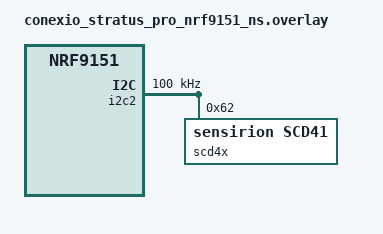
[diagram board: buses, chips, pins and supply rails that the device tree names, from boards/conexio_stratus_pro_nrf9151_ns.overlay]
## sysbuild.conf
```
#
# Copyright (c) 2025 Conexio Technologies, Inc
#
# SPDX-License-Identifier: Apache-2.0
#

SB_CONFIG_BOOTLOADER_MCUBOOT=y 
```

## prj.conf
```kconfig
#
# Copyright (c) 2025 Conexio Technologies, Inc
#
# SPDX-License-Identifier: Apache-2.0
#

CONFIG_CBPRINTF_FP_SUPPORT=y

# Enable I2C
CONFIG_I2C=y

# Enable sensors
CONFIG_SENSOR=y

# Enable sensirion SCD4x sensor driver
CONFIG_SCD4X=y

CONFIG_LOG=y

# Enable Zephyr application to be booted by MCUboot
CONFIG_BOOTLOADER_MCUBOOT=y
```

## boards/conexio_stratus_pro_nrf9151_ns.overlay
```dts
/*
 * Copyright (c) 2024 Conexio Technologies, Inc
 *
 * SPDX-License-Identifier: Apache-2.0
 */

/*
 * Stratus Pro nRF9151 device overlay configuration for SCD4x sensor connected to QWIIC port
 * Yellow = SCL. Green = SDA
 */

&i2c2 {
	status = "okay";
	clock-frequency = <I2C_BITRATE_STANDARD>;
	scd4x: scd4x@62 {
		status = "okay";
		compatible = "sensirion,scd41";
		reg = <0x62>;
		/* Optional: Set measurement mode (0: normal, 1: low power, 2: single-shot) */
		mode = <0>;
	};
};
```

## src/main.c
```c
/*
 * Copyright (c) 2026 Conexio Technologies, Inc
 * 
 * SPDX-License-Identifier: Apache-2.0
 */

#include <zephyr/device.h>
#include <zephyr/drivers/sensor.h>
#include <zephyr/kernel.h>
#include <stdio.h>

/* Get the device structure from the device tree */
static const struct device *const scd41_dev = DEVICE_DT_GET_ANY(sensirion_scd41);

int main(void)
{
    printf("SCD4x sensor sample running on %s\n", CONFIG_BOARD);
	
    if (!device_is_ready(scd41_dev)) {
        printf("SCD41 device not ready\n");
        return 0;
    }

    printf("SCD41 device is ready!\n");

    while (1) {
        struct sensor_value co2_val, temp_val, hum_val;
        int rc = sensor_sample_fetch(scd41_dev);

        if (rc != 0) {
            printf("Sensor fetch failed: %d\n", rc);
        } else {
            /* Get sensor channels */
            sensor_channel_get(scd41_dev, SENSOR_CHAN_CO2, &co2_val);
            sensor_channel_get(scd41_dev, SENSOR_CHAN_AMBIENT_TEMP, &temp_val);
            sensor_channel_get(scd41_dev, SENSOR_CHAN_HUMIDITY, &hum_val);

            /* Print the data */
            printf("CO2: %d ppm, Temp: %d.%d C, Humidity: %d.%d %%RH\n",
                   co2_val.val1, 
                   temp_val.val1, temp_val.val2,
                   hum_val.val1, hum_val.val2);
        }

        k_sleep(K_SECONDS(5)); /* Default periodic measurement interval is 5 seconds */
    }
}
```
